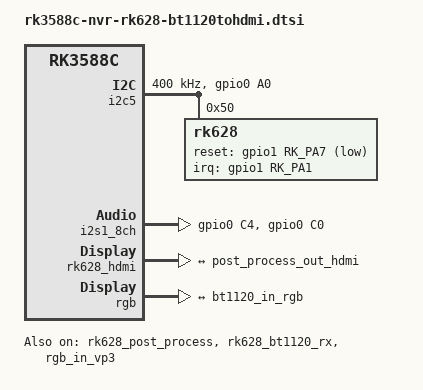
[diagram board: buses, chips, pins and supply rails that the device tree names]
// SPDX-License-Identifier: (GPL-2.0+ OR MIT)
/*
 * Copyright (c) 2022 Rockchip Electronics Co., Ltd.
 *
 */

/ {
	hdmi_rk628_sound: hdmi-rk628-sound {
		status = "okay";
		compatible = "simple-audio-card";
		simple-audio-card,format = "i2s";
		simple-audio-card,mclk-fs = <128>;
		simple-audio-card,name = "rockchip,hdmi2";

		simple-audio-card,cpu {
			sound-dai = <&i2s1_8ch>;
		};
		simple-audio-card,codec {
			sound-dai = <&rk628_hdmi>;
		};
	};
};

 &i2c5 {
	clock-frequency = <400000>;
	pinctrl-names = "default";
	pinctrl-0 = <&i2c5m3_xfer &rk628_24M_clk>;
	status = "okay";

	rk628: rk628@50 {
		reg = <0x50>;
		interrupt-parent = <&gpio1>;
		interrupts = <RK_PA1 IRQ_TYPE_LEVEL_HIGH>;
		//enable-gpios = <&gpio0 RK_PC5 GPIO_ACTIVE_HIGH>;
		reset-gpios = <&gpio1 RK_PA7 GPIO_ACTIVE_LOW>;
		status = "okay";
	};
};

&i2s1_8ch {
	status = "okay";
	rockchip,clk-trcm = <2>;
	rockchip,i2s-tx-route = <3 1 2 0>;
	pinctrl-names = "default";
	pinctrl-0 = <&i2s1m1_lrck
			&i2s1m1_sclk
			&i2s1m1_sdo3>;
};

#include "arm/rk628.dtsi"

&rk628_hdmi {
	status = "okay";

	ports {
		#address-cells = <1>;
		#size-cells = <0>;

		port@0 {
			reg = <0>;

			hdmi_in_post_process: endpoint {
				remote-endpoint = <&post_process_out_hdmi>;
			};
		};
	};
};

&rk628_post_process {
	pinctrl-names = "default";
	pinctrl-0 = <&rk628_vop_pins>;
	status = "okay";

	mode-sync-pol = <0>;
	ports {
		#address-cells = <1>;
		#size-cells = <0>;

		port@0 {
			reg = <0>;

			post_process_in_bt1120: endpoint {
				remote-endpoint = <&bt1120_out_post_process>;
			};
		};

		port@1 {
			reg = <1>;

			post_process_out_hdmi: endpoint {
				remote-endpoint = <&hdmi_in_post_process>;
			};
		};
	};
};

&rk628_bt1120_rx {
	status = "okay";

	ports {
		#address-cells = <1>;
		#size-cells = <0>;

		port@0 {
			reg = <0>;

			bt1120_in_rgb: endpoint {
				remote-endpoint = <&rgb_out_bt1120>;
			};
		};

		port@1 {
			reg = <1>;

			bt1120_out_post_process: endpoint {
				remote-endpoint = <&post_process_in_bt1120>;
			};
		};
	};
};

&rgb {
	status = "okay";
	pinctrl-names = "default";
	pinctrl-0 = <&bt1120_pins>;

	ports {
		port@1 {
			reg = <1>;

			rgb_out_bt1120: endpoint {
				remote-endpoint = <&bt1120_in_rgb>;
			};
		};
	};
};

&rgb_in_vp3 {
	status = "okay";
};

&pinctrl {
	rk628_goio_ctl {
		rk628_24M_clk: rk628-24M-clk {
			rockchip,pins = <0 RK_PA0 1 &pcfg_pull_none>;
		};
	};

	i2s1 {
		/omit-if-no-ref/
		i2s1m1_lrck: i2s1m1-lrck {
			rockchip,pins =
				/* i2s1m1_lrck */
				<0 RK_PC4 1 &pcfg_pull_none>;
		};

		/omit-if-no-ref/
		i2s1m1_sclk: i2s1m1-sclk {
			rockchip,pins =
				/* i2s1m1_sclk */
				<0 RK_PC0 1 &pcfg_pull_none>;
		};
	};
};
